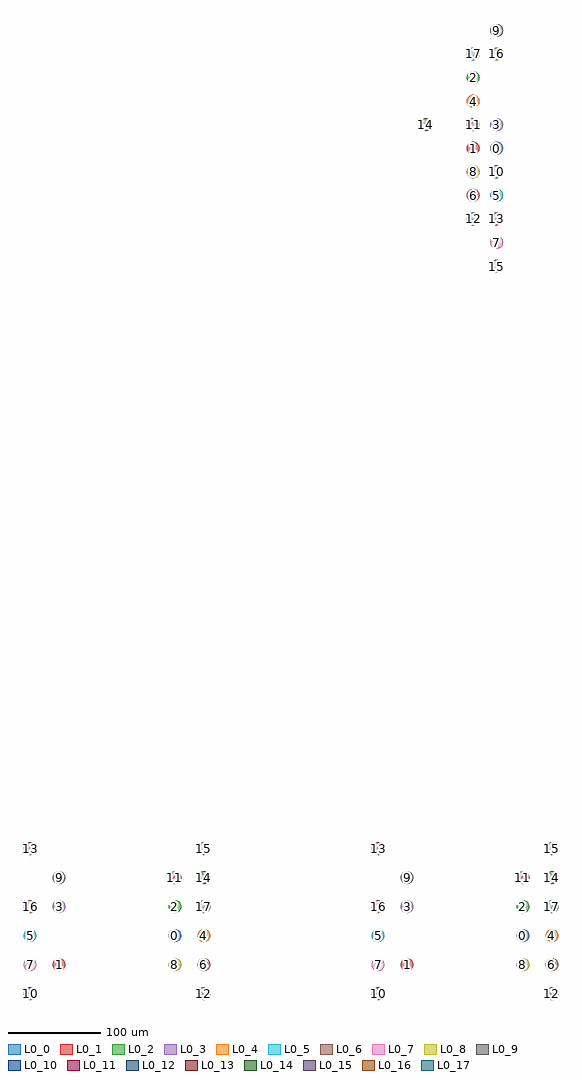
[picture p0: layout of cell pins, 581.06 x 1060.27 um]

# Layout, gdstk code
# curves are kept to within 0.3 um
import gdstk
lib = gdstk.Library(unit=1e-6, precision=1e-09)
def P(c, l, *ps):  # polygons
    for p in ps: c.add(gdstk.Polygon(p, *l))
L0_0 = (0, 0)
L0_1 = (0, 1)
L0_2 = (0, 2)
L0_3 = (0, 3)
L0_4 = (0, 4)
L0_5 = (0, 5)
L0_6 = (0, 6)
L0_7 = (0, 7)
L0_8 = (0, 8)
L0_9 = (0, 9)
L0_10 = (0, 10)
L0_11 = (0, 11)
L0_12 = (0, 12)
L0_13 = (0, 13)
L0_14 = (0, 14)
L0_15 = (0, 15)
L0_16 = (0, 16)
L0_17 = (0, 17)

pins = lib.new_cell('pins')
P(pins, L0_0, [(4472.95,2801.4),(4472.417,2804.078),(4470.899,2806.349),(4468.628,2807.867),(4465.95,2808.4),(4463.271,2807.867),(4461,2806.349),(4459.482,2804.078),(4458.95,2801.4),(4459.482,2798.721),(4461,2796.45),(4463.271,2794.932),(4465.95,2794.4),(4468.628,2794.932),(4470.899,2796.45),(4472.417,2798.721)],
  [(4851.03,2801.4),(4850.497,2804.078),(4848.979,2806.349),(4846.708,2807.867),(4844.03,2808.4),(4841.351,2807.867),(4839.08,2806.349),(4837.562,2804.078),(4837.03,2801.4),(4837.562,2798.721),(4839.08,2796.45),(4841.351,2794.932),(4844.03,2794.4),(4846.708,2794.932),(4848.979,2796.45),(4850.497,2798.721)],
  [(4822.42,3656.73),(4821.887,3659.408),(4820.369,3661.679),(4818.098,3663.197),(4815.42,3663.73),(4812.741,3663.197),(4810.47,3661.679),(4808.952,3659.408),(4808.42,3656.73),(4808.952,3654.051),(4810.47,3651.78),(4812.741,3650.262),(4815.42,3649.73),(4818.098,3650.262),(4820.369,3651.78),(4821.887,3654.051)])
P(pins, L0_1, [(4346.97,2769.91),(4346.437,2772.588),(4344.919,2774.859),(4342.648,2776.377),(4339.97,2776.91),(4337.291,2776.377),(4335.02,2774.859),(4333.502,2772.588),(4332.97,2769.91),(4333.502,2767.231),(4335.02,2764.96),(4337.291,2763.442),(4339.97,2762.91),(4342.648,2763.442),(4344.919,2764.96),(4346.437,2767.231)],
  [(4725.05,2769.91),(4724.517,2772.588),(4722.999,2774.859),(4720.728,2776.377),(4718.05,2776.91),(4715.371,2776.377),(4713.1,2774.859),(4711.582,2772.588),(4711.05,2769.91),(4711.582,2767.231),(4713.1,2764.96),(4715.371,2763.442),(4718.05,2762.91),(4720.728,2763.442),(4722.999,2764.96),(4724.517,2767.231)],
  [(4796.83,3656.73),(4796.297,3659.408),(4794.779,3661.679),(4792.508,3663.197),(4789.83,3663.73),(4787.151,3663.197),(4784.88,3661.679),(4783.362,3659.408),(4782.83,3656.73),(4783.362,3654.051),(4784.88,3651.78),(4787.151,3650.262),(4789.83,3649.73),(4792.508,3650.262),(4794.779,3651.78),(4796.297,3654.051)])
P(pins, L0_2, [(4472.95,2832.9),(4472.417,2835.578),(4470.899,2837.849),(4468.628,2839.367),(4465.95,2839.9),(4463.271,2839.367),(4461,2837.849),(4459.482,2835.578),(4458.95,2832.9),(4459.482,2830.221),(4461,2827.95),(4463.271,2826.432),(4465.95,2825.9),(4468.628,2826.432),(4470.899,2827.95),(4472.417,2830.221)],
  [(4851.03,2832.9),(4850.497,2835.578),(4848.979,2837.849),(4846.708,2839.367),(4844.03,2839.9),(4841.351,2839.367),(4839.08,2837.849),(4837.562,2835.578),(4837.03,2832.9),(4837.562,2830.221),(4839.08,2827.95),(4841.351,2826.432),(4844.03,2825.9),(4846.708,2826.432),(4848.979,2827.95),(4850.497,2830.221)],
  [(4796.83,3733.5),(4796.297,3736.178),(4794.779,3738.449),(4792.508,3739.967),(4789.83,3740.5),(4787.151,3739.967),(4784.88,3738.449),(4783.362,3736.178),(4782.83,3733.5),(4783.362,3730.821),(4784.88,3728.55),(4787.151,3727.032),(4789.83,3726.5),(4792.508,3727.032),(4794.779,3728.55),(4796.297,3730.821)])
P(pins, L0_3, [(4346.97,2832.9),(4346.437,2835.578),(4344.919,2837.849),(4342.648,2839.367),(4339.97,2839.9),(4337.291,2839.367),(4335.02,2837.849),(4333.502,2835.578),(4332.97,2832.9),(4333.502,2830.221),(4335.02,2827.95),(4337.291,2826.432),(4339.97,2825.9),(4342.648,2826.432),(4344.919,2827.95),(4346.437,2830.221)],
  [(4725.05,2832.9),(4724.517,2835.578),(4722.999,2837.849),(4720.728,2839.367),(4718.05,2839.9),(4715.371,2839.367),(4713.1,2837.849),(4711.582,2835.578),(4711.05,2832.9),(4711.582,2830.221),(4713.1,2827.95),(4715.371,2826.432),(4718.05,2825.9),(4720.728,2826.432),(4722.999,2827.95),(4724.517,2830.221)],
  [(4822.42,3682.32),(4821.887,3684.998),(4820.369,3687.269),(4818.098,3688.787),(4815.42,3689.32),(4812.741,3688.787),(4810.47,3687.269),(4808.952,3684.998),(4808.42,3682.32),(4808.952,3679.641),(4810.47,3677.37),(4812.741,3675.852),(4815.42,3675.32),(4818.098,3675.852),(4820.369,3677.37),(4821.887,3679.641)])
P(pins, L0_4, [(4504.45,2801.4),(4503.917,2804.078),(4502.399,2806.349),(4500.128,2807.867),(4497.45,2808.4),(4494.771,2807.867),(4492.5,2806.349),(4490.982,2804.078),(4490.45,2801.4),(4490.982,2798.721),(4492.5,2796.45),(4494.771,2794.932),(4497.45,2794.4),(4500.128,2794.932),(4502.399,2796.45),(4503.917,2798.721)],
  [(4882.53,2801.4),(4881.997,2804.078),(4880.479,2806.349),(4878.208,2807.867),(4875.53,2808.4),(4872.851,2807.867),(4870.58,2806.349),(4869.062,2804.078),(4868.53,2801.4),(4869.062,2798.721),(4870.58,2796.45),(4872.851,2794.932),(4875.53,2794.4),(4878.208,2794.932),(4880.479,2796.45),(4881.997,2798.721)],
  [(4796.83,3707.91),(4796.297,3710.588),(4794.779,3712.859),(4792.508,3714.377),(4789.83,3714.91),(4787.151,3714.377),(4784.88,3712.859),(4783.362,3710.588),(4782.83,3707.91),(4783.362,3705.231),(4784.88,3702.96),(4787.151,3701.442),(4789.83,3700.91),(4792.508,3701.442),(4794.779,3702.96),(4796.297,3705.231)])
P(pins, L0_5, [(4315.47,2801.4),(4314.937,2804.078),(4313.419,2806.349),(4311.148,2807.867),(4308.47,2808.4),(4305.791,2807.867),(4303.52,2806.349),(4302.002,2804.078),(4301.47,2801.4),(4302.002,2798.721),(4303.52,2796.45),(4305.791,2794.932),(4308.47,2794.4),(4311.148,2794.932),(4313.419,2796.45),(4314.937,2798.721)],
  [(4693.55,2801.4),(4693.017,2804.078),(4691.499,2806.349),(4689.228,2807.867),(4686.55,2808.4),(4683.871,2807.867),(4681.6,2806.349),(4680.082,2804.078),(4679.55,2801.4),(4680.082,2798.721),(4681.6,2796.45),(4683.871,2794.932),(4686.55,2794.4),(4689.228,2794.932),(4691.499,2796.45),(4693.017,2798.721)],
  [(4822.42,3605.54),(4821.887,3608.218),(4820.369,3610.489),(4818.098,3612.007),(4815.42,3612.54),(4812.741,3612.007),(4810.47,3610.489),(4808.952,3608.218),(4808.42,3605.54),(4808.952,3602.861),(4810.47,3600.59),(4812.741,3599.072),(4815.42,3598.54),(4818.098,3599.072),(4820.369,3600.59),(4821.887,3602.861)])
P(pins, L0_6, [(4504.45,2769.91),(4503.917,2772.588),(4502.399,2774.859),(4500.128,2776.377),(4497.45,2776.91),(4494.771,2776.377),(4492.5,2774.859),(4490.982,2772.588),(4490.45,2769.91),(4490.982,2767.231),(4492.5,2764.96),(4494.771,2763.442),(4497.45,2762.91),(4500.128,2763.442),(4502.399,2764.96),(4503.917,2767.231)],
  [(4882.53,2769.91),(4881.997,2772.588),(4880.479,2774.859),(4878.208,2776.377),(4875.53,2776.91),(4872.851,2776.377),(4870.58,2774.859),(4869.062,2772.588),(4868.53,2769.91),(4869.062,2767.231),(4870.58,2764.96),(4872.851,2763.442),(4875.53,2762.91),(4878.208,2763.442),(4880.479,2764.96),(4881.997,2767.231)],
  [(4796.83,3605.54),(4796.297,3608.218),(4794.779,3610.489),(4792.508,3612.007),(4789.83,3612.54),(4787.151,3612.007),(4784.88,3610.489),(4783.362,3608.218),(4782.83,3605.54),(4783.362,3602.861),(4784.88,3600.59),(4787.151,3599.072),(4789.83,3598.54),(4792.508,3599.072),(4794.779,3600.59),(4796.297,3602.861)])
P(pins, L0_7, [(4315.47,2769.91),(4314.937,2772.588),(4313.419,2774.859),(4311.148,2776.377),(4308.47,2776.91),(4305.791,2776.377),(4303.52,2774.859),(4302.002,2772.588),(4301.47,2769.91),(4302.002,2767.231),(4303.52,2764.96),(4305.791,2763.442),(4308.47,2762.91),(4311.148,2763.442),(4313.419,2764.96),(4314.937,2767.231)],
  [(4693.55,2769.91),(4693.017,2772.588),(4691.499,2774.859),(4689.228,2776.377),(4686.55,2776.91),(4683.871,2776.377),(4681.6,2774.859),(4680.082,2772.588),(4679.55,2769.91),(4680.082,2767.231),(4681.6,2764.96),(4683.871,2763.442),(4686.55,2762.91),(4689.228,2763.442),(4691.499,2764.96),(4693.017,2767.231)],
  [(4822.42,3554.36),(4821.887,3557.038),(4820.369,3559.309),(4818.098,3560.827),(4815.42,3561.36),(4812.741,3560.827),(4810.47,3559.309),(4808.952,3557.038),(4808.42,3554.36),(4808.952,3551.681),(4810.47,3549.41),(4812.741,3547.892),(4815.42,3547.36),(4818.098,3547.892),(4820.369,3549.41),(4821.887,3551.681)])
P(pins, L0_8, [(4472.95,2769.91),(4472.417,2772.588),(4470.899,2774.859),(4468.628,2776.377),(4465.95,2776.91),(4463.271,2776.377),(4461,2774.859),(4459.482,2772.588),(4458.95,2769.91),(4459.482,2767.231),(4461,2764.96),(4463.271,2763.442),(4465.95,2762.91),(4468.628,2763.442),(4470.899,2764.96),(4472.417,2767.231)],
  [(4851.03,2769.91),(4850.497,2772.588),(4848.979,2774.859),(4846.708,2776.377),(4844.03,2776.91),(4841.351,2776.377),(4839.08,2774.859),(4837.562,2772.588),(4837.03,2769.91),(4837.562,2767.231),(4839.08,2764.96),(4841.351,2763.442),(4844.03,2762.91),(4846.708,2763.442),(4848.979,2764.96),(4850.497,2767.231)],
  [(4796.83,3631.14),(4796.297,3633.818),(4794.779,3636.089),(4792.508,3637.607),(4789.83,3638.14),(4787.151,3637.607),(4784.88,3636.089),(4783.362,3633.818),(4782.83,3631.14),(4783.362,3628.461),(4784.88,3626.19),(4787.151,3624.672),(4789.83,3624.14),(4792.508,3624.672),(4794.779,3626.19),(4796.297,3628.461)])
P(pins, L0_9, [(4346.97,2864.39),(4346.437,2867.068),(4344.919,2869.339),(4342.648,2870.857),(4339.97,2871.39),(4337.291,2870.857),(4335.02,2869.339),(4333.502,2867.068),(4332.97,2864.39),(4333.502,2861.711),(4335.02,2859.44),(4337.291,2857.922),(4339.97,2857.39),(4342.648,2857.922),(4344.919,2859.44),(4346.437,2861.711)],
  [(4725.05,2864.39),(4724.517,2867.068),(4722.999,2869.339),(4720.728,2870.857),(4718.05,2871.39),(4715.371,2870.857),(4713.1,2869.339),(4711.582,2867.068),(4711.05,2864.39),(4711.582,2861.711),(4713.1,2859.44),(4715.371,2857.922),(4718.05,2857.39),(4720.728,2857.922),(4722.999,2859.44),(4724.517,2861.711)],
  [(4822.42,3784.68),(4821.887,3787.358),(4820.369,3789.629),(4818.098,3791.147),(4815.42,3791.68),(4812.741,3791.147),(4810.47,3789.629),(4808.952,3787.358),(4808.42,3784.68),(4808.952,3782.001),(4810.47,3779.73),(4812.741,3778.212),(4815.42,3777.68),(4818.098,3778.212),(4820.369,3779.73),(4821.887,3782.001)])
P(pins, L0_10, [(4315.47,2738.41),(4314.937,2741.088),(4313.419,2743.359),(4311.148,2744.877),(4308.47,2745.41),(4305.791,2744.877),(4303.52,2743.359),(4302.002,2741.088),(4301.47,2738.41),(4302.002,2735.731),(4303.52,2733.46),(4305.791,2731.942),(4308.47,2731.41),(4311.148,2731.942),(4313.419,2733.46),(4314.937,2735.731)],
  [(4693.55,2738.41),(4693.017,2741.088),(4691.499,2743.359),(4689.228,2744.877),(4686.55,2745.41),(4683.871,2744.877),(4681.6,2743.359),(4680.082,2741.088),(4679.55,2738.41),(4680.082,2735.731),(4681.6,2733.46),(4683.871,2731.942),(4686.55,2731.41),(4689.228,2731.942),(4691.499,2733.46),(4693.017,2735.731)],
  [(4822.42,3631.14),(4821.887,3633.818),(4820.369,3636.089),(4818.098,3637.607),(4815.42,3638.14),(4812.741,3637.607),(4810.47,3636.089),(4808.952,3633.818),(4808.42,3631.14),(4808.952,3628.461),(4810.47,3626.19),(4812.741,3624.672),(4815.42,3624.14),(4818.098,3624.672),(4820.369,3626.19),(4821.887,3628.461)])
P(pins, L0_11, [(4472.95,2864.39),(4472.417,2867.068),(4470.899,2869.339),(4468.628,2870.857),(4465.95,2871.39),(4463.271,2870.857),(4461,2869.339),(4459.482,2867.068),(4458.95,2864.39),(4459.482,2861.711),(4461,2859.44),(4463.271,2857.922),(4465.95,2857.39),(4468.628,2857.922),(4470.899,2859.44),(4472.417,2861.711)],
  [(4851.03,2864.39),(4850.497,2867.068),(4848.979,2869.339),(4846.708,2870.857),(4844.03,2871.39),(4841.351,2870.857),(4839.08,2869.339),(4837.562,2867.068),(4837.03,2864.39),(4837.562,2861.711),(4839.08,2859.44),(4841.351,2857.922),(4844.03,2857.39),(4846.708,2857.922),(4848.979,2859.44),(4850.497,2861.711)],
  [(4796.83,3682.32),(4796.297,3684.998),(4794.779,3687.269),(4792.508,3688.787),(4789.83,3689.32),(4787.151,3688.787),(4784.88,3687.269),(4783.362,3684.998),(4782.83,3682.32),(4783.362,3679.641),(4784.88,3677.37),(4787.151,3675.852),(4789.83,3675.32),(4792.508,3675.852),(4794.779,3677.37),(4796.297,3679.641)])
P(pins, L0_12, [(4504.45,2738.41),(4503.917,2741.088),(4502.399,2743.359),(4500.128,2744.877),(4497.45,2745.41),(4494.771,2744.877),(4492.5,2743.359),(4490.982,2741.088),(4490.45,2738.41),(4490.982,2735.731),(4492.5,2733.46),(4494.771,2731.942),(4497.45,2731.41),(4500.128,2731.942),(4502.399,2733.46),(4503.917,2735.731)],
  [(4882.53,2738.41),(4881.997,2741.088),(4880.479,2743.359),(4878.208,2744.877),(4875.53,2745.41),(4872.851,2744.877),(4870.58,2743.359),(4869.062,2741.088),(4868.53,2738.41),(4869.062,2735.731),(4870.58,2733.46),(4872.851,2731.942),(4875.53,2731.41),(4878.208,2731.942),(4880.479,2733.46),(4881.997,2735.731)],
  [(4796.83,3579.95),(4796.297,3582.628),(4794.779,3584.899),(4792.508,3586.417),(4789.83,3586.95),(4787.151,3586.417),(4784.88,3584.899),(4783.362,3582.628),(4782.83,3579.95),(4783.362,3577.271),(4784.88,3575),(4787.151,3573.482),(4789.83,3572.95),(4792.508,3573.482),(4794.779,3575),(4796.297,3577.271)])
P(pins, L0_13, [(4315.47,2895.89),(4314.937,2898.568),(4313.419,2900.839),(4311.148,2902.357),(4308.47,2902.89),(4305.791,2902.357),(4303.52,2900.839),(4302.002,2898.568),(4301.47,2895.89),(4302.002,2893.211),(4303.52,2890.94),(4305.791,2889.422),(4308.47,2888.89),(4311.148,2889.422),(4313.419,2890.94),(4314.937,2893.211)],
  [(4693.55,2895.89),(4693.017,2898.568),(4691.499,2900.839),(4689.228,2902.357),(4686.55,2902.89),(4683.871,2902.357),(4681.6,2900.839),(4680.082,2898.568),(4679.55,2895.89),(4680.082,2893.211),(4681.6,2890.94),(4683.871,2889.422),(4686.55,2888.89),(4689.228,2889.422),(4691.499,2890.94),(4693.017,2893.211)],
  [(4822.42,3579.95),(4821.887,3582.628),(4820.369,3584.899),(4818.098,3586.417),(4815.42,3586.95),(4812.741,3586.417),(4810.47,3584.899),(4808.952,3582.628),(4808.42,3579.95),(4808.952,3577.271),(4810.47,3575),(4812.741,3573.482),(4815.42,3572.95),(4818.098,3573.482),(4820.369,3575),(4821.887,3577.271)])
P(pins, L0_14, [(4504.45,2864.39),(4503.917,2867.068),(4502.399,2869.339),(4500.128,2870.857),(4497.45,2871.39),(4494.771,2870.857),(4492.5,2869.339),(4490.982,2867.068),(4490.45,2864.39),(4490.982,2861.711),(4492.5,2859.44),(4494.771,2857.922),(4497.45,2857.39),(4500.128,2857.922),(4502.399,2859.44),(4503.917,2861.711)],
  [(4882.53,2864.39),(4881.997,2867.068),(4880.479,2869.339),(4878.208,2870.857),(4875.53,2871.39),(4872.851,2870.857),(4870.58,2869.339),(4869.062,2867.068),(4868.53,2864.39),(4869.062,2861.711),(4870.58,2859.44),(4872.851,2857.922),(4875.53,2857.39),(4878.208,2857.922),(4880.479,2859.44),(4881.997,2861.711)],
  [(4745.65,3682.32),(4745.117,3684.998),(4743.599,3687.269),(4741.328,3688.787),(4738.65,3689.32),(4735.971,3688.787),(4733.7,3687.269),(4732.182,3684.998),(4731.65,3682.32),(4732.182,3679.641),(4733.7,3677.37),(4735.971,3675.852),(4738.65,3675.32),(4741.328,3675.852),(4743.599,3677.37),(4745.117,3679.641)])
P(pins, L0_15, [(4504.45,2895.89),(4503.917,2898.568),(4502.399,2900.839),(4500.128,2902.357),(4497.45,2902.89),(4494.771,2902.357),(4492.5,2900.839),(4490.982,2898.568),(4490.45,2895.89),(4490.982,2893.211),(4492.5,2890.94),(4494.771,2889.422),(4497.45,2888.89),(4500.128,2889.422),(4502.399,2890.94),(4503.917,2893.211)],
  [(4882.53,2895.89),(4881.997,2898.568),(4880.479,2900.839),(4878.208,2902.357),(4875.53,2902.89),(4872.851,2902.357),(4870.58,2900.839),(4869.062,2898.568),(4868.53,2895.89),(4869.062,2893.211),(4870.58,2890.94),(4872.851,2889.422),(4875.53,2888.89),(4878.208,2889.422),(4880.479,2890.94),(4881.997,2893.211)],
  [(4822.42,3528.77),(4821.887,3531.448),(4820.369,3533.719),(4818.098,3535.237),(4815.42,3535.77),(4812.741,3535.237),(4810.47,3533.719),(4808.952,3531.448),(4808.42,3528.77),(4808.952,3526.091),(4810.47,3523.82),(4812.741,3522.302),(4815.42,3521.77),(4818.098,3522.302),(4820.369,3523.82),(4821.887,3526.091)])
P(pins, L0_16, [(4315.47,2832.9),(4314.937,2835.578),(4313.419,2837.849),(4311.148,2839.367),(4308.47,2839.9),(4305.791,2839.367),(4303.52,2837.849),(4302.002,2835.578),(4301.47,2832.9),(4302.002,2830.221),(4303.52,2827.95),(4305.791,2826.432),(4308.47,2825.9),(4311.148,2826.432),(4313.419,2827.95),(4314.937,2830.221)],
  [(4693.55,2832.9),(4693.017,2835.578),(4691.499,2837.849),(4689.228,2839.367),(4686.55,2839.9),(4683.871,2839.367),(4681.6,2837.849),(4680.082,2835.578),(4679.55,2832.9),(4680.082,2830.221),(4681.6,2827.95),(4683.871,2826.432),(4686.55,2825.9),(4689.228,2826.432),(4691.499,2827.95),(4693.017,2830.221)],
  [(4822.42,3759.09),(4821.887,3761.768),(4820.369,3764.039),(4818.098,3765.557),(4815.42,3766.09),(4812.741,3765.557),(4810.47,3764.039),(4808.952,3761.768),(4808.42,3759.09),(4808.952,3756.411),(4810.47,3754.14),(4812.741,3752.622),(4815.42,3752.09),(4818.098,3752.622),(4820.369,3754.14),(4821.887,3756.411)])
P(pins, L0_17, [(4504.45,2832.9),(4503.917,2835.578),(4502.399,2837.849),(4500.128,2839.367),(4497.45,2839.9),(4494.771,2839.367),(4492.5,2837.849),(4490.982,2835.578),(4490.45,2832.9),(4490.982,2830.221),(4492.5,2827.95),(4494.771,2826.432),(4497.45,2825.9),(4500.128,2826.432),(4502.399,2827.95),(4503.917,2830.221)],
  [(4882.53,2832.9),(4881.997,2835.578),(4880.479,2837.849),(4878.208,2839.367),(4875.53,2839.9),(4872.851,2839.367),(4870.58,2837.849),(4869.062,2835.578),(4868.53,2832.9),(4869.062,2830.221),(4870.58,2827.95),(4872.851,2826.432),(4875.53,2825.9),(4878.208,2826.432),(4880.479,2827.95),(4881.997,2830.221)],
  [(4796.83,3759.09),(4796.297,3761.768),(4794.779,3764.039),(4792.508,3765.557),(4789.83,3766.09),(4787.151,3765.557),(4784.88,3764.039),(4783.362,3761.768),(4782.83,3759.09),(4783.362,3756.411),(4784.88,3754.14),(4787.151,3752.622),(4789.83,3752.09),(4792.508,3752.622),(4794.779,3754.14),(4796.297,3756.411)])
pins.add(gdstk.Label('0', (4465.95,2801.4), layer=255, texttype=0))
pins.add(gdstk.Label('1', (4339.97,2769.91), layer=255, texttype=1))
pins.add(gdstk.Label('2', (4465.95,2832.9), layer=255, texttype=2))
pins.add(gdstk.Label('3', (4339.97,2832.9), layer=255, texttype=3))
pins.add(gdstk.Label('4', (4497.45,2801.4), layer=255, texttype=4))
pins.add(gdstk.Label('5', (4308.47,2801.4), layer=255, texttype=5))
pins.add(gdstk.Label('6', (4497.45,2769.91), layer=255, texttype=6))
pins.add(gdstk.Label('7', (4308.47,2769.91), layer=255, texttype=7))
pins.add(gdstk.Label('8', (4465.95,2769.91), layer=255, texttype=8))
pins.add(gdstk.Label('9', (4339.97,2864.39), layer=255, texttype=9))
pins.add(gdstk.Label('10', (4308.47,2738.41), layer=255, texttype=10))
pins.add(gdstk.Label('11', (4465.95,2864.39), layer=255, texttype=11))
pins.add(gdstk.Label('12', (4497.45,2738.41), layer=255, texttype=12))
pins.add(gdstk.Label('13', (4308.47,2895.89), layer=255, texttype=13))
pins.add(gdstk.Label('14', (4497.45,2864.39), layer=255, texttype=14))
pins.add(gdstk.Label('15', (4497.45,2895.89), layer=255, texttype=15))
pins.add(gdstk.Label('16', (4308.47,2832.9), layer=255, texttype=16))
pins.add(gdstk.Label('17', (4497.45,2832.9), layer=255, texttype=17))
pins.add(gdstk.Label('0', (4844.03,2801.4), layer=255, texttype=0))
pins.add(gdstk.Label('1', (4718.05,2769.91), layer=255, texttype=1))
pins.add(gdstk.Label('2', (4844.03,2832.9), layer=255, texttype=2))
pins.add(gdstk.Label('3', (4718.05,2832.9), layer=255, texttype=3))
pins.add(gdstk.Label('4', (4875.53,2801.4), layer=255, texttype=4))
pins.add(gdstk.Label('5', (4686.55,2801.4), layer=255, texttype=5))
pins.add(gdstk.Label('6', (4875.53,2769.91), layer=255, texttype=6))
pins.add(gdstk.Label('7', (4686.55,2769.91), layer=255, texttype=7))
pins.add(gdstk.Label('8', (4844.03,2769.91), layer=255, texttype=8))
pins.add(gdstk.Label('9', (4718.05,2864.39), layer=255, texttype=9))
pins.add(gdstk.Label('10', (4686.55,2738.41), layer=255, texttype=10))
pins.add(gdstk.Label('11', (4844.03,2864.39), layer=255, texttype=11))
pins.add(gdstk.Label('12', (4875.53,2738.41), layer=255, texttype=12))
pins.add(gdstk.Label('13', (4686.55,2895.89), layer=255, texttype=13))
pins.add(gdstk.Label('14', (4875.53,2864.39), layer=255, texttype=14))
pins.add(gdstk.Label('15', (4875.53,2895.89), layer=255, texttype=15))
pins.add(gdstk.Label('16', (4686.55,2832.9), layer=255, texttype=16))
pins.add(gdstk.Label('17', (4875.53,2832.9), layer=255, texttype=17))
pins.add(gdstk.Label('0', (4815.42,3656.73), layer=255, texttype=0))
pins.add(gdstk.Label('1', (4789.83,3656.73), layer=255, texttype=1))
pins.add(gdstk.Label('2', (4789.83,3733.5), layer=255, texttype=2))
pins.add(gdstk.Label('3', (4815.42,3682.32), layer=255, texttype=3))
pins.add(gdstk.Label('4', (4789.83,3707.91), layer=255, texttype=4))
pins.add(gdstk.Label('5', (4815.42,3605.54), layer=255, texttype=5))
pins.add(gdstk.Label('6', (4789.83,3605.54), layer=255, texttype=6))
pins.add(gdstk.Label('7', (4815.42,3554.36), layer=255, texttype=7))
pins.add(gdstk.Label('8', (4789.83,3631.14), layer=255, texttype=8))
pins.add(gdstk.Label('9', (4815.42,3784.68), layer=255, texttype=9))
pins.add(gdstk.Label('10', (4815.42,3631.14), layer=255, texttype=10))
pins.add(gdstk.Label('11', (4789.83,3682.32), layer=255, texttype=11))
pins.add(gdstk.Label('12', (4789.83,3579.95), layer=255, texttype=12))
pins.add(gdstk.Label('13', (4815.42,3579.95), layer=255, texttype=13))
pins.add(gdstk.Label('14', (4738.65,3682.32), layer=255, texttype=14))
pins.add(gdstk.Label('15', (4815.42,3528.77), layer=255, texttype=15))
pins.add(gdstk.Label('16', (4815.42,3759.09), layer=255, texttype=16))
pins.add(gdstk.Label('17', (4789.83,3759.09), layer=255, texttype=17))

lib.write_gds('pins.gds')
